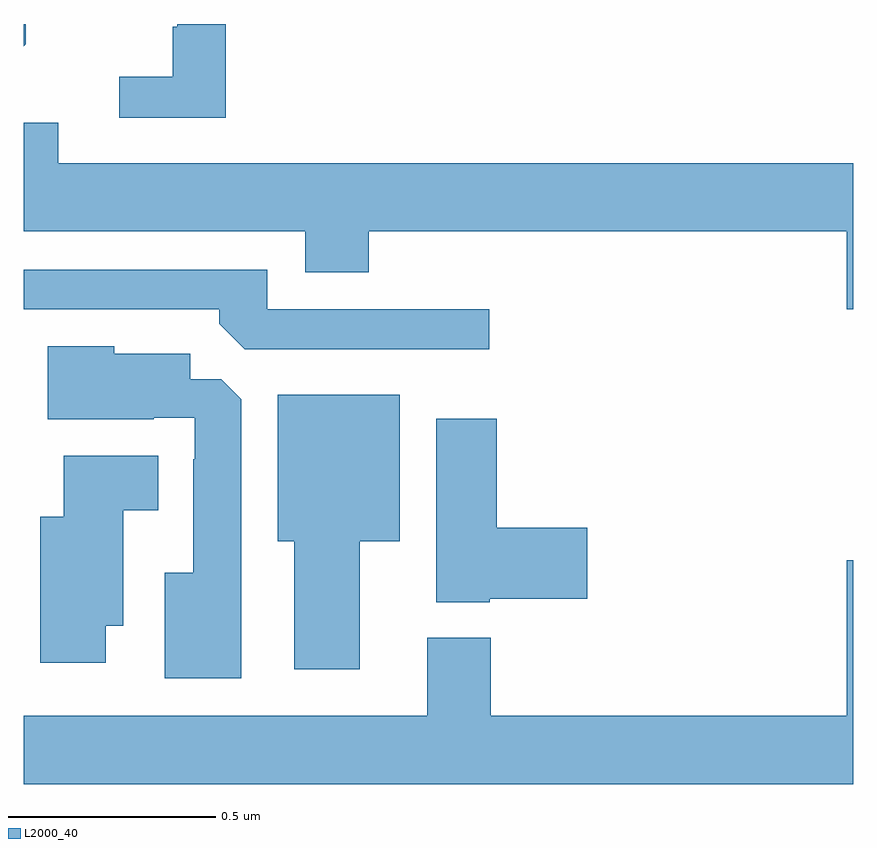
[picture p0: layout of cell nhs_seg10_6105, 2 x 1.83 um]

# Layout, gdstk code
import gdstk
lib = gdstk.Library(unit=1e-6, precision=1e-09)
def P(c, l, *ps):  # polygons
    for p in ps: c.add(gdstk.Polygon(p, *l))
L2000_40 = (2000, 40)

nhs_seg10_6105 = lib.new_cell('nhs_seg10_6105')
P(nhs_seg10_6105, L2000_40, [(187.487,1283.5),(187.37,1283.5),(187.37,1283.493),(187.359,1283.493),(187.359,1283.373),(187.23,1283.373),(187.23,1283.274),(187.487,1283.274)],
  [(187.005,1283.451),(187.005,1283.5),(187,1283.5),(187,1283.446)],
  [(189,1283.164),(187.084,1283.164),(187.084,1283.262),(187,1283.262),(187,1283),(187.679,1283),(187.679,1282.901),(187.832,1282.901),(187.832,1283),(188.984,1283),(188.984,1282.812),(189,1282.812)],
  [(188.122,1282.812),(187.587,1282.812),(187.587,1282.908),(187,1282.908),(187,1282.812),(187.472,1282.812),(187.472,1282.778),(187.533,1282.716),(188.122,1282.716)],
  [(187.525,1282.595),(187.476,1282.644),(187.402,1282.644),(187.402,1282.705),(187.218,1282.705),(187.218,1282.723),(187.058,1282.723),(187.058,1282.547),(187.313,1282.547),(187.313,1282.551),(187.413,1282.551),(187.413,1282.451),(187.409,1282.451),(187.409,1282.177),(187.34,1282.177),(187.34,1281.923),(187.525,1281.923)],
  [(187.81,1282.253),(187.906,1282.253),(187.906,1282.606),(187.613,1282.606),(187.613,1282.253),(187.652,1282.253),(187.652,1281.945),(187.81,1281.945)],
  [(188.124,1282.115),(188.359,1282.115),(188.359,1282.286),(188.141,1282.286),(188.141,1282.549),(187.994,1282.549),(187.994,1282.106),(188.124,1282.106)],
  [(187.198,1282.049),(187.24,1282.049),(187.24,1282.328),(187.324,1282.328),(187.324,1282.459),(187.097,1282.459),(187.097,1282.312),(187.04,1282.312),(187.04,1281.96),(187.198,1281.96)],
  [(189,1282.207),(188.984,1282.207),(188.984,1281.832),(188.126,1281.832),(188.126,1282.021),(187.973,1282.021),(187.973,1281.832),(187,1281.832),(187,1281.668),(189,1281.668)])

lib.write_gds('nhs_seg10_6105.gds')
